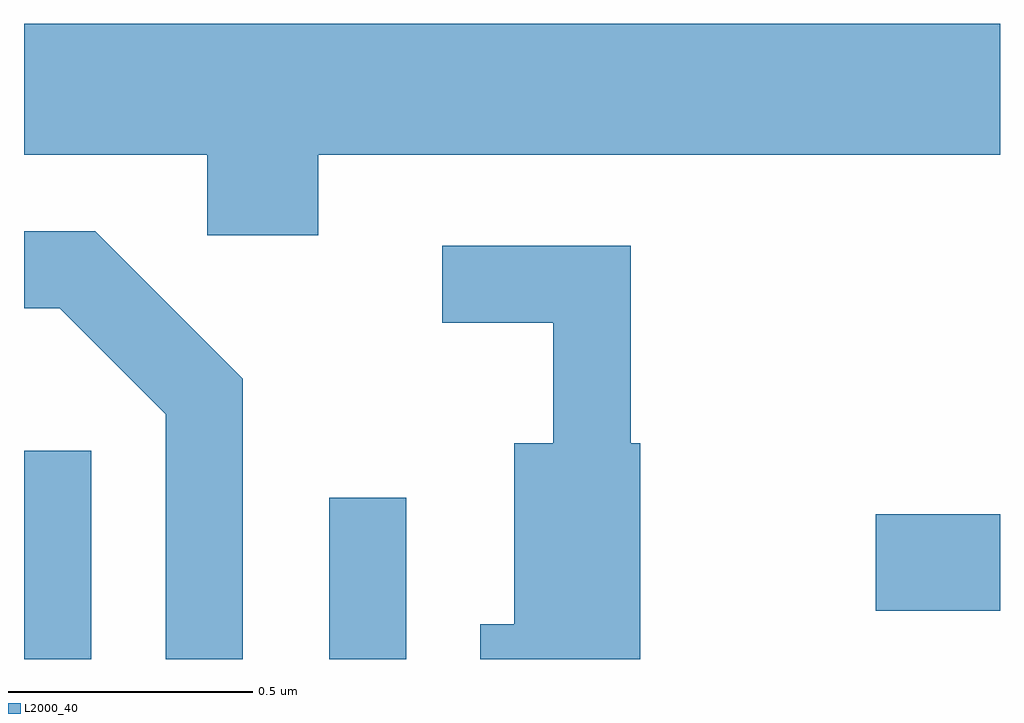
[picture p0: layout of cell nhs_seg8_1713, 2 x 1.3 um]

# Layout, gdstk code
import gdstk
lib = gdstk.Library(unit=1e-6, precision=1e-09)
def R(c, l, rs):  # rectangles x0, y0, x1, y1
    for r in rs: c.add(gdstk.rectangle(r[:2], r[2:], *l))
def P(c, l, *ps):  # polygons
    for p in ps: c.add(gdstk.Polygon(p, *l))
L2000_40 = (2000, 40)

nhs_seg8_1713 = lib.new_cell('nhs_seg8_1713')
R(nhs_seg8_1713, L2000_40, [(197.611,1875.342,197.749,1875.769), (198.236,1875.342,198.394,1875.673), (199.356,1875.441,199.611,1875.639)])
P(nhs_seg8_1713, L2000_40, [(198.214,1876.376),(199.611,1876.376),(199.611,1876.644),(197.611,1876.644),(197.611,1876.376),(197.986,1876.376),(197.986,1876.211),(198.214,1876.211)],
  [(198.059,1875.917),(197.757,1876.219),(197.611,1876.219),(197.611,1876.061),(197.684,1876.061),(197.901,1875.844),(197.901,1875.342),(198.059,1875.342)],
  [(198.874,1875.784),(198.854,1875.784),(198.854,1876.189),(198.468,1876.189),(198.468,1876.031),(198.696,1876.031),(198.696,1875.784),(198.616,1875.784),(198.616,1875.414),(198.546,1875.414),(198.546,1875.342),(198.874,1875.342)])

lib.write_gds('nhs_seg8_1713.gds')
